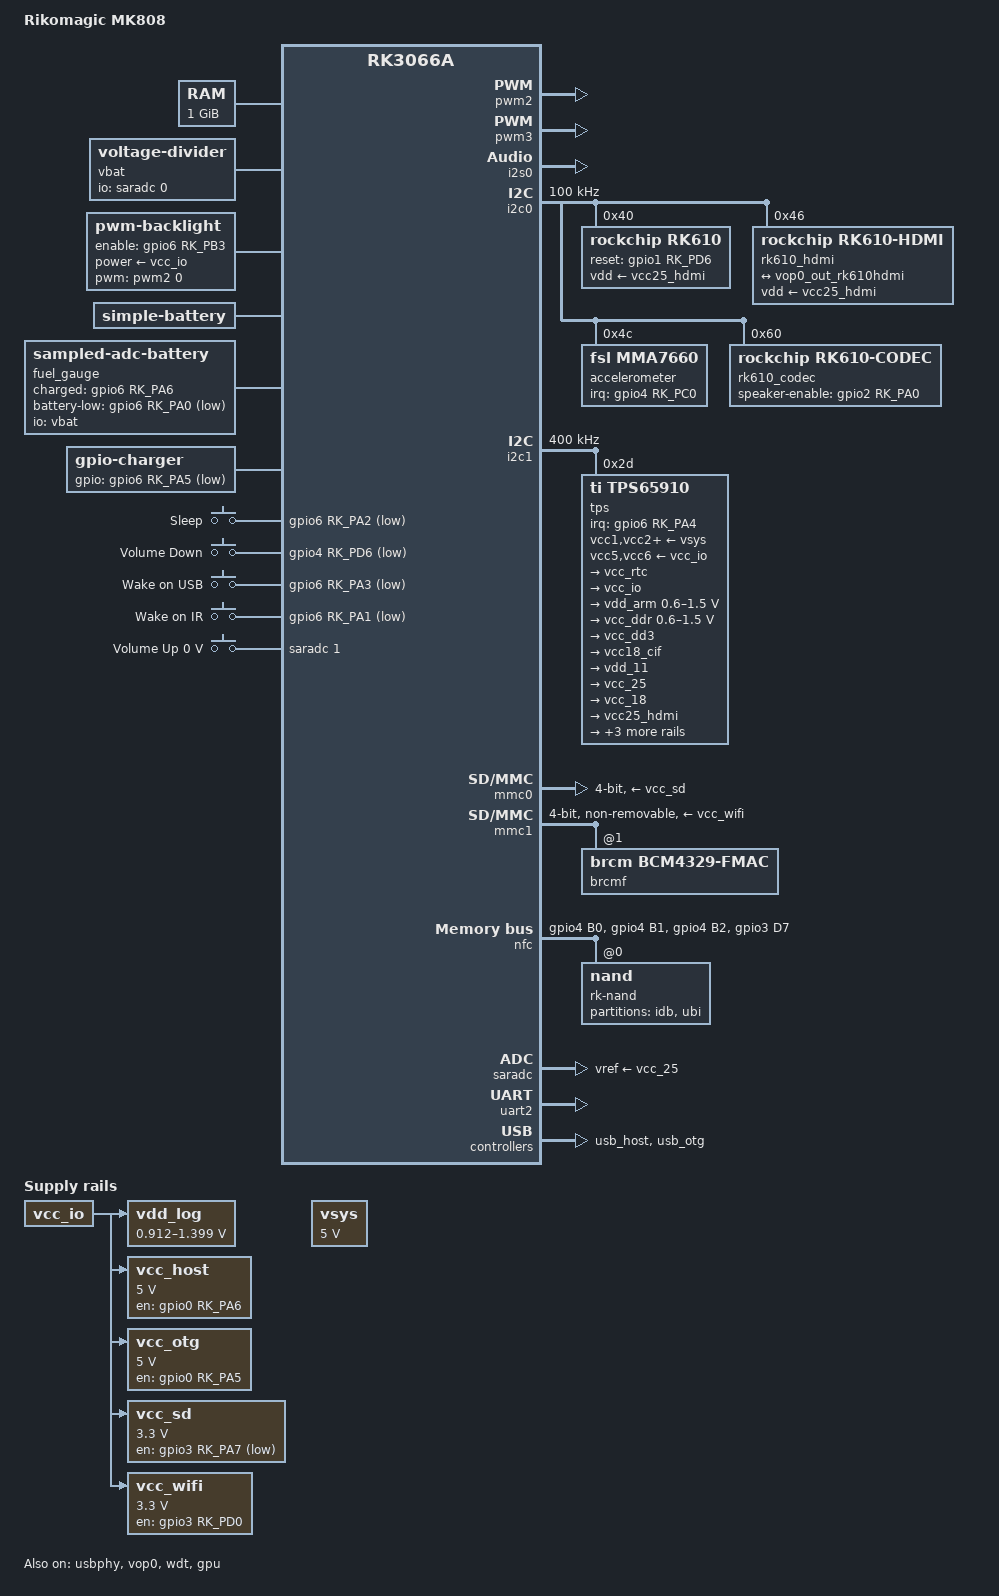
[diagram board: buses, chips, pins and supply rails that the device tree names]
// SPDX-License-Identifier: (GPL-2.0+ OR MIT)
/*
 * Copyright (c) 2016 Paweł Jarosz <paweljarosz3691@gmail.com>
 */

/dts-v1/;
#include <dt-bindings/input/input.h>
#include "rk3066a.dtsi"

/ {
	model = "Rikomagic MK808";
	compatible = "rikomagic,mk808", "rockchip,rk3066a";

	aliases {
		mmc0 = &mmc0;
		mmc1 = &mmc1;
	};

	chosen {
		stdout-path = "serial2:115200n8";
	};

	memory@60000000 {
		reg = <0x60000000 0x40000000>;
		device_type = "memory";
	};

	vsys: vsys-regulator {
		compatible = "regulator-fixed";
		regulator-name = "vsys";
		regulator-min-microvolt = <5000000>;
		regulator-max-microvolt = <5000000>;
		regulator-boot-on;
	};

	// vdd_log = 1.40028 - 0.1477 * duty * vcc_io - 0.0004 * vcc_io
	vdd_log: pwm-regulator {
		compatible = "pwm-regulator";
		pwms = <&pwm3 0 1000>;
		regulator-name = "vdd_log";
		pwm-dutycycle-range = <100 0>;
		regulator-min-microvolt = <911550>;
		regulator-max-microvolt = <1398960>;
		regulator-always-on;
		regulator-boot-on;
		pwm-supply = <&vcc_io>;
		status = "okay";
	};

	vcc_host: regulator-usb-host {
		compatible = "regulator-fixed";
		enable-active-high;
		gpio = <&gpio0 RK_PA6 GPIO_ACTIVE_HIGH>;
		pinctrl-0 = <&host_drv>;
		pinctrl-names = "default";
		regulator-always-on;
		regulator-name = "host-pwr";
		regulator-min-microvolt = <5000000>;
		regulator-max-microvolt = <5000000>;
		startup-delay-us = <100000>;
		vin-supply = <&vcc_io>;
	};

	vcc_otg: regulator-usb-otg {
		compatible = "regulator-fixed";
		enable-active-high;
		gpio = <&gpio0 RK_PA5 GPIO_ACTIVE_HIGH>;
		pinctrl-0 = <&otg_drv>;
		pinctrl-names = "default";
		regulator-always-on;
		regulator-name = "vcc_otg";
		regulator-min-microvolt = <5000000>;
		regulator-max-microvolt = <5000000>;
		startup-delay-us = <100000>;
		vin-supply = <&vcc_io>;
	};

	vcc_sd: regulator-sdmmc {
		compatible = "regulator-fixed";
		gpio = <&gpio3 RK_PA7 GPIO_ACTIVE_LOW>;
		pinctrl-0 = <&sdmmc_pwr>;
		pinctrl-names = "default";
		regulator-name = "vcc_sd";
		regulator-min-microvolt = <3300000>;
		regulator-max-microvolt = <3300000>;
		startup-delay-us = <100000>;
		vin-supply = <&vcc_io>;
	};

	vcc_wifi: regulator-sdio {
		compatible = "regulator-fixed";
		enable-active-high;
		gpio = <&gpio3 RK_PD0 GPIO_ACTIVE_HIGH>;
		pinctrl-0 = <&wifi_pwr>;
		pinctrl-names = "default";
		regulator-name = "vcc_wifi";
		regulator-min-microvolt = <3300000>;
		regulator-max-microvolt = <3300000>;
		startup-delay-us = <100000>;
		vin-supply = <&vcc_io>;
	};

	vbat: voltage-divider {
		compatible = "voltage-divider";
		io-channels = <&saradc 0>;
		#io-channel-cells = <0>;
		output-ohms = <200>;
		full-ohms = <400>;
	};

	backlight: backlight {
		compatible = "pwm-backlight";
		power-supply = <&vcc_io>;
		pwms = <&pwm2 0 25000>;
		enable-gpios = <&gpio6 RK_PB3 GPIO_ACTIVE_HIGH>;
	};

	battery: battery {
		compatible = "simple-battery";
		device-chemistry = "lithium-ion";
		charge-full-design-microamp-hours = <2500000>;
		voltage-max-design-microvolt = <4150000>;
		voltage-min-design-microvolt = <3380000>;
		ambient-celsius = <0 40>;
		ocv-capacity-celsius = <20>;
		ocv-capacity-table-0 =
			<4200000 100>, <4195000 97>, <4195000 95>, <4150000 93>, <4144000 91>,
			<4132000 89>, <4096000 87>, <4080000 85>, <4064000 83>, <4047000 81>,
			<4030000 79>, <3997000 77>, <3977000 75>, <3977000 73>, <3930000 71>,
			<3910000 69>, <3890000 67>, <3871000 65>, <3864000 63>, <3860000 61>,
			<3855000 59>, <3844000 57>, <3844000 55>, <3842000 53>, <3841000 51>,
			<3839000 49>, <3837000 47>, <3836000 45>, <3834000 43>, <3832000 41>,
			<3830000 39>, <3825000 37>, <3822000 35>, <3818000 33>, <3814000 31>,
			<3810000 29>, <3790000 27>, <3775000 25>, <3756000 23>, <3748000 21>,
			<3720000 19>, <3715000 17>, <3700000 15>, <3684000 13>, <3670000 11>,
			<3662000 9>, <3644000 7>, <3620000 5>, <3600000 3>, <3575000 2>,
			<3525000 1>, <3520000 0>;

		ccv-capacity-celsius = <25>;
		ccv-capacity-table-0 =
			<4120000 100>, <4085000 97>, <4085000 95>, <4055000 93>, <4034000 91>,
			<4030000 89>, <4026000 87>, <4002000 85>, <3982000 83>, <3964000 81>,
			<3950000 79>, <3845000 77>, <3827000 75>, <3817000 73>, <3808000 71>,
			<3800000 69>, <3786000 67>, <3774000 65>, <3764000 63>, <3756000 61>,
			<3750000 59>, <3746000 57>, <3742000 55>, <3738000 53>, <3734000 51>,
			<3730000 49>, <3726000 47>, <3722000 45>, <3718000 43>, <3714000 41>,
			<3710000 39>, <3705000 37>, <3699000 35>, <3693000 33>, <3687000 31>,
			<3680000 29>, <3672000 27>, <3662000 25>, <3652000 23>, <3640000 21>,
			<3630000 19>, <3610000 17>, <3580000 15>, <3570000 13>, <3557000 11>,
			<3540000 9>, <3525000 7>, <3505000 5>, <3475000 3>, <3420000 2>,
			<3420000 1>, <3400000 0>;
	};

	fuel_gauge: fuel-gauge {
			compatible = "sampled-adc-battery";
			io-channel-names = "voltage";
			io-channels = <&vbat>;
			charged-gpios = <&gpio6 RK_PA6 GPIO_ACTIVE_HIGH>;
			battery-low-gpios = <&gpio6 RK_PA0 GPIO_ACTIVE_LOW>;
			power-supplies = <&charger>;
			monitored-battery = <&battery>;
			sleep-period = <1>;
			transient-reject = <5>;
			count = <10>;
	};

	charger: charger {
	 	compatible = "gpio-charger";
	 	charger-type = "mains";
	 	gpios = <&gpio6 RK_PA5 GPIO_ACTIVE_LOW>;
	 	monitored-battery = <&battery>;
	};

	gpio-keys {
		compatible = "gpio-keys";
		autorepeat;

		key-sleep {
			gpios = <&gpio6 RK_PA2 GPIO_ACTIVE_LOW>;
			linux,code = <KEY_SLEEP>;
			label = "Sleep";
			linux,input-type = <1>;
			wakeup-source;
			debounce-interval = <100>;
		};

		key-volume-down {
			gpios = <&gpio4 RK_PD6 GPIO_ACTIVE_LOW>;
			linux,code = <KEY_VOLUMEDOWN>;
			label = "Volume Down";
			linux,input-type = <1>;
			debounce-interval = <100>;
		};

		key-wake-on-usb {
			label = "Wake on USB";
			gpios = <&gpio6 RK_PA3 GPIO_ACTIVE_LOW>;
			linux,code = <KEY_WAKEUP>;
			wakeup-source;
		};

		key-wake-on-ir {
			label = "Wake on IR";
			gpios = <&gpio6 RK_PA1 GPIO_ACTIVE_LOW>;
			linux,code = <KEY_WAKEUP>;
			wakeup-source;
		};
	};

	adc-keys {
		compatible = "adc-keys";
		io-channels = <&saradc 1>;
		io-channel-names = "buttons";
		keyup-threshold-microvolt = <2500000>;
		poll-interval = <100>;

		key-volume-down {
			label = "Volume Up";
			linux,code = <KEY_VOLUMEUP>;
			press-threshold-microvolt = <0>;
		};
	};

	rk610-sound {
		compatible = "simple-audio-card";
		simple-audio-card,name = "rk610-sound";
		status = "okay";

		simple-audio-card,dai-link@0 {
			format = "i2s";
			mclk-fs = <256>;

			cpu {
				sound-dai = <&i2s0>;
			};
			codec {
				sound-dai = <&rk610_codec>;
			};
		};

		simple-audio-card,dai-link@1 {
			format = "i2s";
			mclk-fs = <256>;

			cpu {
				sound-dai = <&i2s0>;
			};
			codec {
				sound-dai = <&rk610_hdmi>;
			};
		};
	};

	gpu_opp_table: opp-table {
		compatible = "operating-points-v2";

		// vdd_log is also connected to other peripherals
		// voltage less than 1.1V crashes the soc
		opp-100000000 {
			opp-hz = /bits/ 64 <100000000>;
			opp-microvolt = <1100000>;
		};
		opp-200000000 {
			opp-hz = /bits/ 64 <200000000>;
			opp-microvolt = <1100000>;
		};
		opp-297000000 {
			opp-hz = /bits/ 64 <297000000>;
			opp-microvolt = <1150000>;
		};
		opp-400000000 {
			opp-hz = /bits/ 64 <400000000>;
			opp-microvolt = <1200000>;
		};

		// datasheet max vdd_log is 1.2V
		// this is overclock territory, there might be
		// more +50mhz margin on top, but that needs additional
		// cru cpll rates. 594Mhz adds approximately
		// 20% perf on top of 400Mhz
		//opp-594000000 {
		//	opp-hz = /bits/ 64 <594000000>;
		//	opp-microvolt = <1398960>;
		//};
	};
};

&pinctrl {
	nand {
		nand_csn1: nand-csn1 {
			rockchip,pins = <4 RK_PB0 1 &pcfg_pull_none>;
		};
		nand_csn2: nand-csn2 {
			rockchip,pins = <4 RK_PB1 1 &pcfg_pull_none>;
		};
		nand_csn3: nand-csn3 {
			rockchip,pins = <4 RK_PB2 1 &pcfg_pull_none>;
		};
		nand_dqs: nand-dqs {
			rockchip,pins = <3 RK_PD7 1 &pcfg_pull_none>;
		};
	};

	rk610 {
		rk610_rst: rk610-rst {
			rockchip,pins = <1 RK_PD6 RK_FUNC_GPIO &pcfg_pull_default>;
		};
	};

	usb-host {
		host_drv: host-drv {
			rockchip,pins = <0 RK_PA6 RK_FUNC_GPIO &pcfg_pull_default>;
		};
	};

	usb-otg {
		otg_drv: otg-drv {
			rockchip,pins = <0 RK_PA5 RK_FUNC_GPIO &pcfg_pull_default>;
		};
	};

	sdmmc {
		sdmmc_pwr: sdmmc-pwr {
			rockchip,pins = <3 RK_PA7 RK_FUNC_GPIO &pcfg_pull_default>;
		};
	};

	sdio {
		wifi_pwr: wifi-pwr {
			rockchip,pins = <3 RK_PD0 RK_FUNC_GPIO &pcfg_pull_none>;
		};
	};
};

&pwm2 {
	status = "okay";
};

&pwm3 {
	status = "okay";
};

&cpu0 {
	cpu-supply = <&vdd_arm>;
	operating-points =
		/* kHz    uV */
//		<1416000 1300000>,
		<1272000 1225000>,
		<1200000 1175000>,
		<1008000 1125000>,
		<816000  1125000>,
		<600000  1100000>,
		<504000  1100000>,
		<312000  1075000>;
};

&cpu1 {
	cpu-supply = <&vdd_arm>;
};

&i2s0 {
	status = "okay";
};

&i2c0 {
	status = "okay";
	clock-frequency = <100000>;

	rk610@40 {
		compatible = "rockchip,rk610";
		reg = <0x40>;
		pinctrl-names = "default";
		pinctrl-0 = <&rk610_rst>;
		reset-gpios = <&gpio1 RK_PD6 GPIO_ACTIVE_HIGH>;
		clocks = <&cru SCLK_I2S0>, <&cru HCLK_I2S0>;
		clock-names = "i2s_clk", "i2s_hclk";
		assigned-clocks = <&cru SCLK_I2S0>;
		assigned-clock-rates = <11289600>;
		vdd-supply = <&vcc25_hdmi>;
	};

	rk610_hdmi: rk610-hdmi@46 {
		compatible = "rockchip,rk610-hdmi";
		reg = <0x46>;
		vdd-supply = <&vcc25_hdmi>;
		clocks = <&cru SCLK_I2S0>;
		clock-names = "refclk";
		#sound-dai-cells = <0>;

		port {
			rk610_hdmi_in: endpoint {
				remote-endpoint = <&vop0_out_rk610hdmi>;
			};
		};
	};

	accelerometer@4c {
		reg = <0x4c>;
		compatible = "fsl,mma7660";
		interrupt-parent = <&gpio4>;
		interrupts = <RK_PC0 IRQ_TYPE_EDGE_RISING>;
		pinctrl-names = "default";
		mount-matrix = "1",  "0", "0",
		               "0", "-1", "0",
		               "0",  "0", "1";
	};

	rk610_codec: rk610-codec@60 {
		reg = <0x60>;
		compatible = "rockchip,rk610-codec";
		speaker-enable-gpios = <&gpio2 RK_PA0 GPIO_ACTIVE_HIGH>;
		rockchip,use-mic-input;        /* omit for line input */
		rockchip,mic-volume = <10>;    /* 0-31, >7 enables +20dB boost, default 7 */
		rockchip,use-lpf-route;        /* omit for direct DAC routing */
		rockchip,boot-depop;           /* omit to skip anti-pop sequencing */
		rockchip,capless-output;       /* only matters if boot-depop is set */
		#sound-dai-cells = <0>;
	};
};

&i2c1 {
	status = "okay";
	clock-frequency = <400000>;

	tps: tps@2d {
		compatible = "ti,tps65910";
		reg = <0x2d>;

		gpio-controller;
		#gpio-cells = <2>;

		interrupt-parent = <&gpio6>;
		interrupts = <RK_PA4 IRQ_TYPE_LEVEL_LOW>;

		interrupt-controller;
		#interrupt-cells = <2>;

		ti,sleep-keep-3k32k;
		vcc1-supply = <&vsys>;
		vcc2-supply = <&vsys>;
		vcc3-supply = <&vsys>;
		vcc4-supply = <&vsys>;
		vcc5-supply = <&vcc_io>;
		vcc6-supply = <&vcc_io>;
		vcc7-supply = <&vsys>;
		vccio-supply = <&vsys>;

		regulators {
			vcc_rtc: vrtc {
				regulator-name = "vcc_rtc";
				regulator-always-on;
			};

			vcc_io: vio {
				regulator-name = "vcc_io";
				regulator-always-on;
			};

			vdd_arm: vdd1 {
				regulator-name = "vdd_arm";
				regulator-min-microvolt = <600000>;
				regulator-max-microvolt = <1500000>;
				regulator-boot-on;
				regulator-always-on;
			};

			vcc_ddr: vdd2 {
				regulator-name = "vcc_ddr";
				regulator-min-microvolt = <600000>;
				regulator-max-microvolt = <1500000>;
				regulator-boot-on;
				regulator-always-on;
			};

			vcc_dd3: vdd3 {
				regulator-name = "vcc_dd3";
				regulator-boot-on;
				regulator-always-on;
			};

			vcc18_cif: vdig1 {
				regulator-name = "vcc18_cif";
				regulator-always-on;
			};

			vdd_11: vdig2 {
				regulator-name = "vdd_11";
				regulator-always-on;
			};

			vcc_25: vpll {
				regulator-name = "vcc_25";
				regulator-always-on;
			};

			vcc_18: vdac {
				regulator-name = "vcc_18";
				regulator-always-on;
			};

			vcc25_hdmi: vaux1 {
				regulator-name = "vcc25_hdmi";
				regulator-always-on;
			};

			vcca_33: vaux2 {
				regulator-name = "vcca_33";
				regulator-always-on;
			};

			vcc_tp: vaux33 {
				regulator-name = "vcc_tp";
				regulator-always-on;
			};

			vcc28_cif: vmmc {
				regulator-name = "vcc28_cif";
				regulator-always-on;
			};
		};
	};
};

&vop0_out {
	vop0_out_rk610hdmi: endpoint@1 {
		reg = <1>;
		remote-endpoint = <&rk610_hdmi_in>;
	};
};

&mmc0 {
	bus-width = <4>;
	cap-mmc-highspeed;
	cap-sd-highspeed;
	vmmc-supply = <&vcc_sd>;
	status = "okay";
};

&mmc1 {
	bus-width = <4>;
	non-removable;
	pinctrl-0 = <&sd1_clk &sd1_cmd &sd1_bus4>;
	pinctrl-names = "default";
	vmmc-supply = <&vcc_wifi>;
	#address-cells = <1>;
	#size-cells = <0>;
	status = "okay";

	brcmf: wifi@1 {
		compatible = "brcm,bcm4329-fmac";
		reg = <1>;
	};
};

&nfc {
	#address-cells = <1>;
	#size-cells = <0>;
	pinctrl-0 = <&nand_csn1 &nand_csn2 &nand_csn3 &nand_dqs>;
	pinctrl-names = "default";
	status = "okay";

	nand@0 {
		reg = <0>, <2>;
		label = "rk-nand";
		nand-bus-width = <8>;
		nand-ecc-mode = "hw";
		nand-ecc-step-size = <1024>;
		nand-ecc-strength = <40>;
		nand-is-boot-medium;
		rockchip,boot-blks = <8>;
		rockchip,boot-ecc-strength = <24>;

		partitions {
			compatible = "fixed-partitions";
			#address-cells = <2>;
			#size-cells = <2>;

			// block 0 - 7
			idb@0 {
				label = "idb";
				reg = <0x0 0x00000000 0x0 0x1000000>;
			};

			// block 8 - end
			part_ubi: linux@1000000 {
				label = "ubi";
				reg = <0x0 0x1000000 0x3 0xFF000000>;
				slc-mode;
			};
		};
	};
};

&saradc {
	vref-supply = <&vcc_25>;
	status = "okay";
};

&uart2 {
	status = "okay";
};

&usb_host {
	status = "okay";
};

&usb_otg {
	status = "okay";
};

&usbphy {
	status = "okay";
};

&vop0 {
	status = "okay";
};

&wdt {
	status = "okay";
};

&gpu {
        status = "okay";
        mali-supply = <&vdd_log>;
        operating-points-v2 = <&gpu_opp_table>;
};
